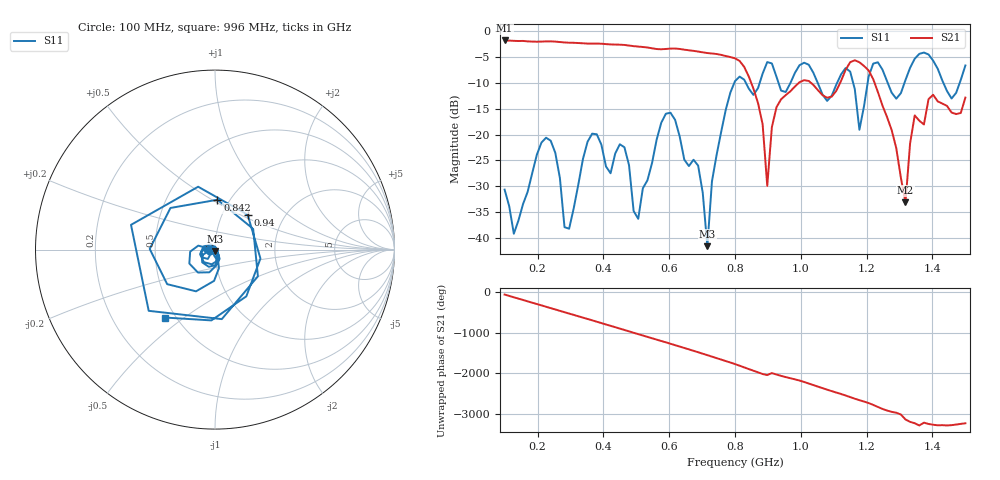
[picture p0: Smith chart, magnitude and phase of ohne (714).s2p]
! NanoVNA-App
! Date: 2025-09-25 14:26:21
! Start: 100MHz Stop: 1,5GHz Points: 101
! S-Parameter data: F S11 S21 S12 S22
# Hz S RI R 50
!  Frequency  S11_Real  S11_Imag  S21_Real  S21_Imag  S12_Real  S12_Imag  S22_Real  S22_Imag
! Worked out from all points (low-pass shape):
!   101 points, 100 MHz to 1.5 GHz, reference 50 ohm
!   highest |S21| = -1.79 dB at 100 MHz (marker M1); lowest = -33.1 dB at 1.318 GHz (marker M2)
!   |S21| within 3 dB of the highest: start of sweep to 771.3 MHz
!   lowest |S11| = -41.6 dB at 716 MHz (marker M3), VSWR 1.02, Z = 49.8 - j0.816 ohm
!   |S11| at or under -10 dB: start of sweep to 797.9 MHz; 833 MHz to 875 MHz (42.01 MHz wide, 4.92 % of centre); 1.051 GHz to 1.11 GHz (58.88 MHz wide, 5.45 % of centre) (the widest 3 of 7)
!   S12 and S22 are empty: the file has one direction only
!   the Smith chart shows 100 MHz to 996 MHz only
!   S11 on the Smith chart (normalised r, x): 100 MHz: 0.94, -0.01; 842 MHz: 0.88, +0.53; 940 MHz: 1.31, +0.55; 996 MHz: 0.44, -0.43
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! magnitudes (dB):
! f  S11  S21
! 100 MHz  -30.6  -1.8
! 128 MHz  -39.2  -1.9
! 226 MHz  -20.6  -2.0
! 296 MHz  -38.2  -2.2
! 338 MHz  -24.7  -2.3
! 464 MHz  -22.4  -2.7
! 506 MHz  -36.3  -3.0
! 576 MHz  -17.7  -3.5
! 688 MHz  -26.0  -3.9
! 716 MHz  -41.6  -4.2
! 800 MHz  -9.7  -5.2
! 842 MHz  -11.1  -8.8
! 898 MHz  -6.0  -29.9
! 940 MHz  -11.5  -13.2
! 996 MHz  -6.6  -9.9
! 1.038 GHz  -8.0  -10.4
! 1.178 GHz  -19.1  -6.0
! 1.22 GHz  -6.3  -9.3
! 1.276 GHz  -11.9  -19.1
! 1.318 GHz  -9.4  -33.1
! 1.346 GHz  -5.3  -16.3
! 1.5 GHz  -6.6  -12.8
